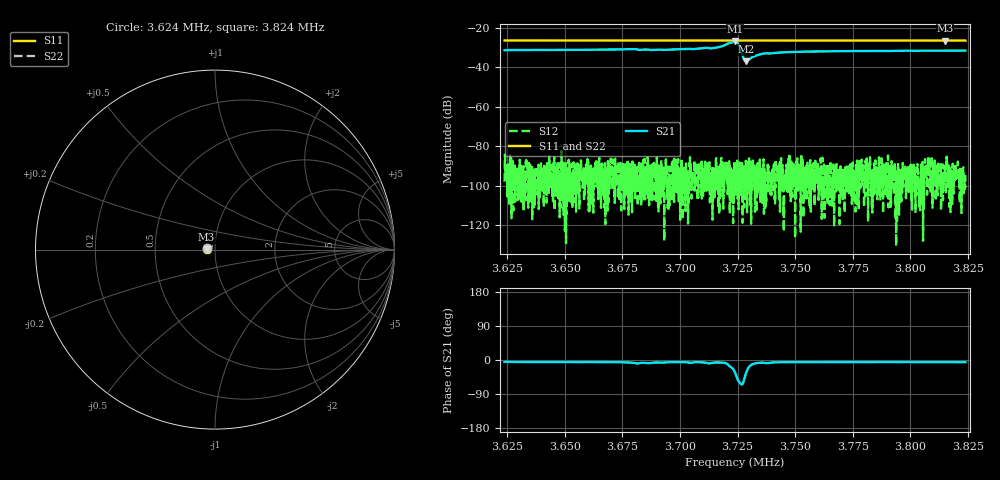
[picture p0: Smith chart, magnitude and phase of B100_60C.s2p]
# Hz S dB R 50.000
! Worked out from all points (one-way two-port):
!   6401 points, 3.624 MHz to 3.824 MHz, reference 50 ohm
!   highest |S21| = -26.78 dB at 3.724 MHz (marker M1); lowest = -37.0 dB at 3.729 MHz (marker M2)
!   lowest |S11| = -26.6 dB at 3.815 MHz (marker M3), VSWR 1.10, Z = 45.5 + j0.23 ohm
!   |S11| at or under -10 dB: start of sweep to end of sweep
!   |S22| runs from -26.6 to -26.5 dB; largest |S21 - S12| = 0.046
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3623906  -26.51 175.3  -31.47 -5.0  -97.87 77.5  -26.49 170.0
3657250  -26.51 175.6  -31.24 -5.5  -93.89 102.1  -26.49 170.3
3680094  -26.51 175.7  -30.87 -7.6  -102.28 -170.2  -26.50 170.5
3682656  -26.52 175.8  -31.28 -7.8  -94.96 -135.1  -26.51 170.5
3690594  -26.51 175.8  -31.17 -6.7  -96.88 23.4  -26.51 170.6
3705812  -26.52 176.0  -30.90 -6.2  -94.59 49.8  -26.51 170.8
3711344  -26.52 176.0  -30.22 -7.3  -95.98 -102.9  -26.52 170.8
3714094  -26.52 176.1  -30.42 -7.2  -104.23 144.9  -26.52 170.8
3718000  -26.53 176.1  -29.52 -6.8  -88.54 59.1  -26.52 170.8
3723906  -26.53 176.1  -26.78 -32.9  -99.51 9.3  -26.52 170.9
3724594  -26.52 176.2  -27.12 -44.0  -96.52 18.8  -26.52 170.9
3725344  -26.53 176.1  -28.48 -54.7  -97.93 28.4  -26.52 170.9
3726094  -26.52 176.1  -30.30 -61.1  -95.73 78.6  -26.52 170.9
3727687  -26.53 176.2  -35.83 -55.9  -91.69 72.1  -26.51 170.9
3728594  -26.53 176.2  -36.98 -36.3  -87.38 57.7  -26.52 171.0
3729344  -26.53 176.2  -36.67 -24.7  -93.70 -14.3  -26.51 171.0
3732718  -26.53 176.2  -34.30 -8.8  -104.71 44.2  -26.52 171.0
3736562  -26.53 176.3  -33.07 -7.4  -102.91 -19.1  -26.53 170.9
3757250  -26.54 176.4  -32.09 -5.7  -93.39 -1.2  -26.53 171.2
3790594  -26.54 176.7  -31.82 -5.6  -105.30 -33.5  -26.55 171.5
3815000  -26.56 176.9  -31.67 -5.9  -89.82 -39.4  -26.57 171.7
3823906  -26.55 177.0  -31.63 -5.8  -94.62 -8.9  -26.57 171.8
